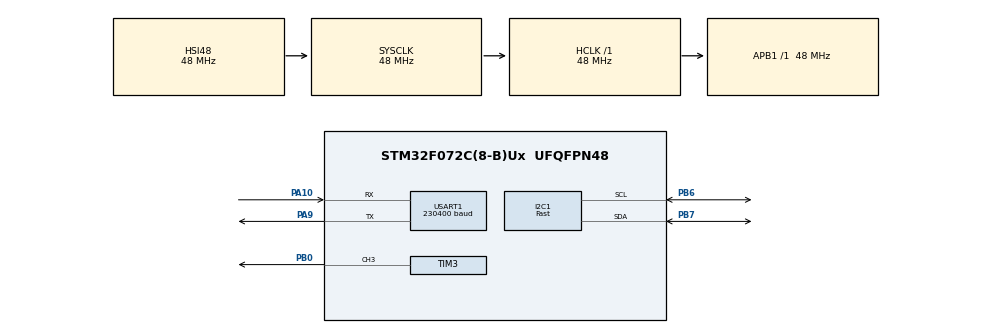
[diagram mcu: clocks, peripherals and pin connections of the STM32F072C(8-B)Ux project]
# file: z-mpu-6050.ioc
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Dma.I2C1_RX.1.Direction=DMA_PERIPH_TO_MEMORY
Dma.I2C1_RX.1.Instance=DMA1_Channel3
Dma.I2C1_RX.1.MemDataAlignment=DMA_MDATAALIGN_BYTE
Dma.I2C1_RX.1.MemInc=DMA_MINC_ENABLE
Dma.I2C1_RX.1.Mode=DMA_NORMAL
Dma.I2C1_RX.1.PeriphDataAlignment=DMA_PDATAALIGN_BYTE
Dma.I2C1_RX.1.PeriphInc=DMA_PINC_DISABLE
Dma.I2C1_RX.1.Priority=DMA_PRIORITY_LOW
Dma.I2C1_TX.0.Direction=DMA_MEMORY_TO_PERIPH
Dma.I2C1_TX.0.Instance=DMA1_Channel2
Dma.I2C1_TX.0.MemDataAlignment=DMA_MDATAALIGN_BYTE
Dma.I2C1_TX.0.MemInc=DMA_MINC_ENABLE
Dma.I2C1_TX.0.Mode=DMA_NORMAL
Dma.I2C1_TX.0.PeriphDataAlignment=DMA_PDATAALIGN_BYTE
Dma.I2C1_TX.0.PeriphInc=DMA_PINC_DISABLE
Dma.I2C1_TX.0.Priority=DMA_PRIORITY_LOW
Dma.Request0=I2C1_TX
Dma.Request1=I2C1_RX
Dma.Request2=USART1_TX
Dma.USART1_TX.2.DMA_Remap=HAL_REMAPDMA_USART1_TX_DMA_CH4
Dma.USART1_TX.2.Direction=DMA_MEMORY_TO_PERIPH
Dma.USART1_TX.2.Instance=DMA1_Channel4
Dma.USART1_TX.2.MemDataAlignment=DMA_MDATAALIGN_BYTE
Dma.USART1_TX.2.MemInc=DMA_MINC_ENABLE
Dma.USART1_TX.2.Mode=DMA_NORMAL
Dma.USART1_TX.2.PeriphDataAlignment=DMA_PDATAALIGN_BYTE
Dma.USART1_TX.2.PeriphInc=DMA_PINC_DISABLE
Dma.USART1_TX.2.Priority=DMA_PRIORITY_LOW
I2C1.I2C_Speed_Mode=I2C_Fast
I2C1.Timing=0x0000020B
Mcu.Family=STM32F0
Mcu.Name=STM32F072C(8-B)Ux
Mcu.Package=UFQFPN48
NVIC.DMA1_Channel2_3_IRQn=true\:0\:0\:false
NVIC.DMA1_Channel4_5_6_7_IRQn=true\:0\:0\:false
PA10.Mode=Asynchronous
PA10.Signal=USART1_RX
PA13.Mode=Serial-WireDebug
PA13.Signal=SYS_SWDIO
PA14.Mode=Serial-WireDebug
PA14.Signal=SYS_SWCLK
PA9.Mode=Asynchronous
PA9.Signal=USART1_TX
PB0.Signal=S_TIM3_CH3
PB6.Mode=I2C
PB6.Signal=I2C1_SCL
PB7.Mode=I2C
PB7.Signal=I2C1_SDA
ProjectManager.TargetToolchain=MDK-ARM V5
RCC.AHBFreq_Value=48000000
RCC.APB1Freq_Value=48000000
RCC.APB1TimFreq_Value=48000000
RCC.HCLKFreq_Value=48000000
RCC.PLLDivider=RCC_PREDIV_DIV4
RCC.PLLSourceVirtual=RCC_PLLSOURCE_HSI48
RCC.SYSCLKFreq_VALUE=48000000
RCC.SYSCLKSource=RCC_SYSCLKSOURCE_HSI48
SH.S_TIM3_CH3.0=TIM3_CH3,PWM Generation3 CH3
TIM3.Channel-PWM\ Generation3\ CH3=TIM_CHANNEL_3
TIM3.Period=10
TIM3.Prescaler=4700
TIM3.Pulse-PWM\ Generation3\ CH3=2
USART1.BaudRate=230400
USART1.Mode=UART_MODE_TX
USART1.WordLength=UART_WORDLENGTH_8B
VP_TIM3_VS_ClockSourceINT.Mode=Internal
board=z-mpu-6050

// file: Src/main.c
/**
  ******************************************************************************
  * File Name          : main.c
  * Description        : Main program body
  ******************************************************************************
  *
  * COPYRIGHT(c) 2015 STMicroelectronics
  *
  * Redistribution and use in source and binary forms, with or without modification,
  * are permitted provided that the following conditions are met:
  *   1. Redistributions of source code must retain the above copyright notice,
  *      this list of conditions and the following disclaimer.
  *   2. Redistributions in binary form must reproduce the above copyright notice,
  *      this list of conditions and the following disclaimer in the documentation
  *      and/or other materials provided with the distribution.
  *   3. Neither the name of STMicroelectronics nor the names of its contributors
  *      may be used to endorse or promote products derived from this software
  *      without specific prior written permission.
  *
  * THIS SOFTWARE IS PROVIDED BY THE COPYRIGHT HOLDERS AND CONTRIBUTORS "AS IS"
  * AND ANY EXPRESS OR IMPLIED WARRANTIES, INCLUDING, BUT NOT LIMITED TO, THE
  * IMPLIED WARRANTIES OF MERCHANTABILITY AND FITNESS FOR A PARTICULAR PURPOSE ARE
  * DISCLAIMED. IN NO EVENT SHALL THE COPYRIGHT HOLDER OR CONTRIBUTORS BE LIABLE
  * FOR ANY DIRECT, INDIRECT, INCIDENTAL, SPECIAL, EXEMPLARY, OR CONSEQUENTIAL
  * DAMAGES (INCLUDING, BUT NOT LIMITED TO, PROCUREMENT OF SUBSTITUTE GOODS OR
  * SERVICES; LOSS OF USE, DATA, OR PROFITS; OR BUSINESS INTERRUPTION) HOWEVER
  * CAUSED AND ON ANY THEORY OF LIABILITY, WHETHER IN CONTRACT, STRICT LIABILITY,
  * OR TORT (INCLUDING NEGLIGENCE OR OTHERWISE) ARISING IN ANY WAY OUT OF THE USE
  * OF THIS SOFTWARE, EVEN IF ADVISED OF THE POSSIBILITY OF SUCH DAMAGE.
  *
  ******************************************************************************
  */
#include "stm32f0xx_hal.h"

/* USER CODE BEGIN Includes */
#include "string.h"
#include "tm_stm32f4_mpu6050.h"

/* USER CODE END Includes */

I2C_HandleTypeDef hi2c1;
DMA_HandleTypeDef hdma_i2c1_tx;
DMA_HandleTypeDef hdma_i2c1_rx;

TIM_HandleTypeDef htim3;

UART_HandleTypeDef huart1;
DMA_HandleTypeDef hdma_usart1_tx;

/* USER CODE BEGIN PV */
/* Private variables ---------------------------------------------------------*/

/* USER CODE END PV */

void SystemClock_Config(void);
static void MX_GPIO_Init(void);
static void MX_DMA_Init(void);
static void MX_I2C1_Init(void);
static void MX_TIM3_Init(void);
static void MX_USART1_UART_Init(void);

/* USER CODE BEGIN PFP */
/* Private function prototypes -----------------------------------------------*/

/* USER CODE END PFP */

/* USER CODE BEGIN 0 */
/**
 * @brief  Initializes I2C
 * @param  *I2Cx: I2C used
 * @param  pinspack: Pins used. This parameter can have a value of @ref TM_I2C_PinsPack_t enumeration
 * @param  clockSpeed: Clock speed for SCL in Hertz
 * @retval None
 */
void TM_I2C_Init(I2C_TypeDef* I2Cx, TM_I2C_PinsPack_t pinspack, uint32_t clockSpeed)
{
	//nothing to do
}
/**
 * @brief  Reads single byte from slave
 * @param  *I2Cx: I2C used
 * @param  address: 7 bit slave address, left aligned, bits 7:1 are used, LSB bit is not used
 * @param  reg: register to read from
 * @retval Data from slave
 */
uint8_t TM_I2C_Read(I2C_TypeDef* I2Cx, uint8_t address, uint8_t reg) {
	uint8_t result;
	TM_I2C_ReadMulti(I2Cx, address, reg, & result, 1);
	return  result;
}

/**
 * @brief  Reads multi bytes from slave
 * @param  *I2Cx: I2C used
 * @param  uint8_t address: 7 bit slave address, left aligned, bits 7:1 are used, LSB bit is not used
 * @param  uint8_t reg: register to read from
 * @param  uint8_t *data: pointer to data array to store data from slave
 * @param  uint8_t count: how many bytes will be read
 * @retval None
 */
void TM_I2C_ReadMulti(I2C_TypeDef* I2Cx, uint8_t address, uint8_t reg, uint8_t *data, uint16_t count)
{
	HAL_I2C_Master_Transmit(&hi2c1, address, &reg, 1, 20000);
	HAL_I2C_Master_Receive(&hi2c1, address, data, count, 20000);
}

void TM_I2C_Write(I2C_TypeDef* I2Cx, uint8_t address, uint8_t reg, uint8_t data) {
	uint8_t buf [2] = {reg, data};
	HAL_I2C_Master_Transmit(&hi2c1, address, buf, 2, 20000);
}

uint8_t TM_I2C_IsDeviceConnected(I2C_TypeDef* I2Cx, uint8_t address) {
	return 1;
}

/* USER CODE END 0 */

int main(void)
{

  /* USER CODE BEGIN 1 */
	char str0[100];
	char str1[100];
	char * currentline;
	TM_MPU6050_t MPU6050_Data0;

  /* USER CODE END 1 */

  /* MCU Configuration----------------------------------------------------------*/

  /* Reset of all peripherals, Initializes the Flash interface and the Systick. */
  HAL_Init();

  /* Configure the system clock */
  SystemClock_Config();

  /* Initialize all configured peripherals */
  MX_GPIO_Init();
  MX_DMA_Init();
  MX_I2C1_Init();
  MX_TIM3_Init();
  MX_USART1_UART_Init();

  /* USER CODE BEGIN 2 */
	HAL_TIM_Base_Start(&htim3);
	HAL_TIM_PWM_Start(&htim3,TIM_CHANNEL_3);
	while(HAL_GetTick()<1000);
  HAL_UART_Transmit(&huart1,(uint8_t*)"\0AT",3,50000);
	while(HAL_GetTick()<2000);
	if( TM_MPU6050_Init(&MPU6050_Data0, TM_MPU6050_Device_0, TM_MPU6050_Accelerometer_16G, TM_MPU6050_Gyroscope_2000s) != TM_MPU6050_Result_Ok) {
		__HAL_TIM_SetAutoreload(&htim3,10000);
		__HAL_TIM_SET_COMPARE(&htim3,TIM_CHANNEL_3,3000);
	}

  /* USER CODE END 2 */

  /* Infinite loop */
  /* USER CODE BEGIN WHILE */
	currentline = str0;
  while (1)
  {
  /* USER CODE END WHILE */

  /* USER CODE BEGIN 3 */
                /* Read all data from sensor 1 */
                TM_MPU6050_ReadAll(&MPU6050_Data0);

                /* Format data */
		sprintf(currentline, "%+6d;%+6d;%+6d;%+6d;%+6d;%+6d\r\n",
                    MPU6050_Data0.Accelerometer_X,
                    MPU6050_Data0.Accelerometer_Y,
                    MPU6050_Data0.Accelerometer_Z,
                    MPU6050_Data0.Gyroscope_X,
                    MPU6050_Data0.Gyroscope_Y,
                    MPU6050_Data0.Gyroscope_Z
                );

                /* Show to usart */
		int len = strlen(currentline);
		while(huart1.hdmatx->State != HAL_DMA_STATE_READY) __wfi();
		UART_CheckIdleState(&huart1);
		HAL_UART_Transmit_DMA(&huart1,(uint8_t*)currentline,len);
		currentline = currentline == str0 ? str1 : str0;

  }
  /* USER CODE END 3 */

}

/** System Clock Configuration
*/
void SystemClock_Config(void)
{

  RCC_OscInitTypeDef RCC_OscInitStruct;
  RCC_ClkInitTypeDef RCC_ClkInitStruct;
  RCC_PeriphCLKInitTypeDef PeriphClkInit;

  RCC_OscInitStruct.OscillatorType = RCC_OSCILLATORTYPE_HSI|RCC_OSCILLATORTYPE_HSI48;
  RCC_OscInitStruct.HSIState = RCC_HSI_ON;
  RCC_OscInitStruct.HSI48State = RCC_HSI48_ON;
  RCC_OscInitStruct.HSICalibrationValue = 16;
  RCC_OscInitStruct.PLL.PLLState = RCC_PLL_NONE;
  HAL_RCC_OscConfig(&RCC_OscInitStruct);

  RCC_ClkInitStruct.ClockType = RCC_CLOCKTYPE_SYSCLK;
  RCC_ClkInitStruct.SYSCLKSource = RCC_SYSCLKSOURCE_HSI48;
  RCC_ClkInitStruct.AHBCLKDivider = RCC_SYSCLK_DIV1;
  RCC_ClkInitStruct.APB1CLKDivider = RCC_HCLK_DIV1;
  HAL_RCC_ClockConfig(&RCC_ClkInitStruct, FLASH_LATENCY_1);

  PeriphClkInit.PeriphClockSelection = RCC_PERIPHCLK_USART1|RCC_PERIPHCLK_I2C1;
  PeriphClkInit.Usart1ClockSelection = RCC_USART1CLKSOURCE_PCLK1;
  PeriphClkInit.I2c1ClockSelection = RCC_I2C1CLKSOURCE_HSI;
  HAL_RCCEx_PeriphCLKConfig(&PeriphClkInit);

  HAL_SYSTICK_Config(HAL_RCC_GetHCLKFreq()/1000);

  HAL_SYSTICK_CLKSourceConfig(SYSTICK_CLKSOURCE_HCLK);

  /* SysTick_IRQn interrupt configuration */
  HAL_NVIC_SetPriority(SysTick_IRQn, 0, 0);
}

/* I2C1 init function */
void MX_I2C1_Init(void)
{

  hi2c1.Instance = I2C1;
  hi2c1.Init.Timing = 0x0000020B;
  hi2c1.Init.OwnAddress1 = 0;
  hi2c1.Init.AddressingMode = I2C_ADDRESSINGMODE_7BIT;
  hi2c1.Init.DualAddressMode = I2C_DUALADDRESS_DISABLED;
  hi2c1.Init.OwnAddress2 = 0;
  hi2c1.Init.OwnAddress2Masks = I2C_OA2_NOMASK;
  hi2c1.Init.GeneralCallMode = I2C_GENERALCALL_DISABLED;
  hi2c1.Init.NoStretchMode = I2C_NOSTRETCH_DISABLED;
  HAL_I2C_Init(&hi2c1);

    /**Configure Analogue filter
    */
  HAL_I2CEx_AnalogFilter_Config(&hi2c1, I2C_ANALOGFILTER_ENABLED);

}

/* TIM3 init function */
void MX_TIM3_Init(void)
{

  TIM_ClockConfigTypeDef sClockSourceConfig;
  TIM_MasterConfigTypeDef sMasterConfig;
  TIM_OC_InitTypeDef sConfigOC;

  htim3.Instance = TIM3;
  htim3.Init.Prescaler = 4700;
  htim3.Init.CounterMode = TIM_COUNTERMODE_UP;
  htim3.Init.Period = 10;
  htim3.Init.ClockDivision = TIM_CLOCKDIVISION_DIV1;
  HAL_TIM_Base_Init(&htim3);

  sClockSourceConfig.ClockSource = TIM_CLOCKSOURCE_INTERNAL;
  HAL_TIM_ConfigClockSource(&htim3, &sClockSourceConfig);

  HAL_TIM_PWM_Init(&htim3);

  sMasterConfig.MasterOutputTrigger = TIM_TRGO_RESET;
  sMasterConfig.MasterSlaveMode = TIM_MASTERSLAVEMODE_DISABLE;
  HAL_TIMEx_MasterConfigSynchronization(&htim3, &sMasterConfig);

  sConfigOC.OCMode = TIM_OCMODE_PWM1;
  sConfigOC.Pulse = 2;
  sConfigOC.OCPolarity = TIM_OCPOLARITY_HIGH;
  sConfigOC.OCFastMode = TIM_OCFAST_DISABLE;
  HAL_TIM_PWM_ConfigChannel(&htim3, &sConfigOC, TIM_CHANNEL_3);

}

/* USART1 init function */
void MX_USART1_UART_Init(void)
{

  huart1.Instance = USART1;
  huart1.Init.BaudRate = 230400;
  huart1.Init.WordLength = UART_WORDLENGTH_8B;
  huart1.Init.StopBits = UART_STOPBITS_1;
  huart1.Init.Parity = UART_PARITY_NONE;
  huart1.Init.Mode = UART_MODE_TX;
  huart1.Init.HwFlowCtl = UART_HWCONTROL_NONE;
  huart1.Init.OverSampling = UART_OVERSAMPLING_16;
  huart1.Init.OneBitSampling = UART_ONEBIT_SAMPLING_DISABLED ;
  huart1.AdvancedInit.AdvFeatureInit = UART_ADVFEATURE_NO_INIT;
  HAL_UART_Init(&huart1);

}

void MX_DMA_Init(void)
{
  /* DMA controller clock enable */
  __DMA1_CLK_ENABLE();

  /* DMA interrupt init */
  HAL_NVIC_SetPriority(DMA1_Channel2_3_IRQn, 0, 0);
  HAL_NVIC_EnableIRQ(DMA1_Channel2_3_IRQn);
  HAL_NVIC_SetPriority(DMA1_Channel4_5_6_7_IRQn, 0, 0);
  HAL_NVIC_EnableIRQ(DMA1_Channel4_5_6_7_IRQn);

}

/** Configure pins as
        * Analog
        * Input
        * Output
        * EVENT_OUT
        * EXTI
*/
void MX_GPIO_Init(void)
{

  /* GPIO Ports Clock Enable */
  __GPIOB_CLK_ENABLE();
  __GPIOA_CLK_ENABLE();

}

/************************ (C) COPYRIGHT STMicroelectronics *****END OF FILE****/
